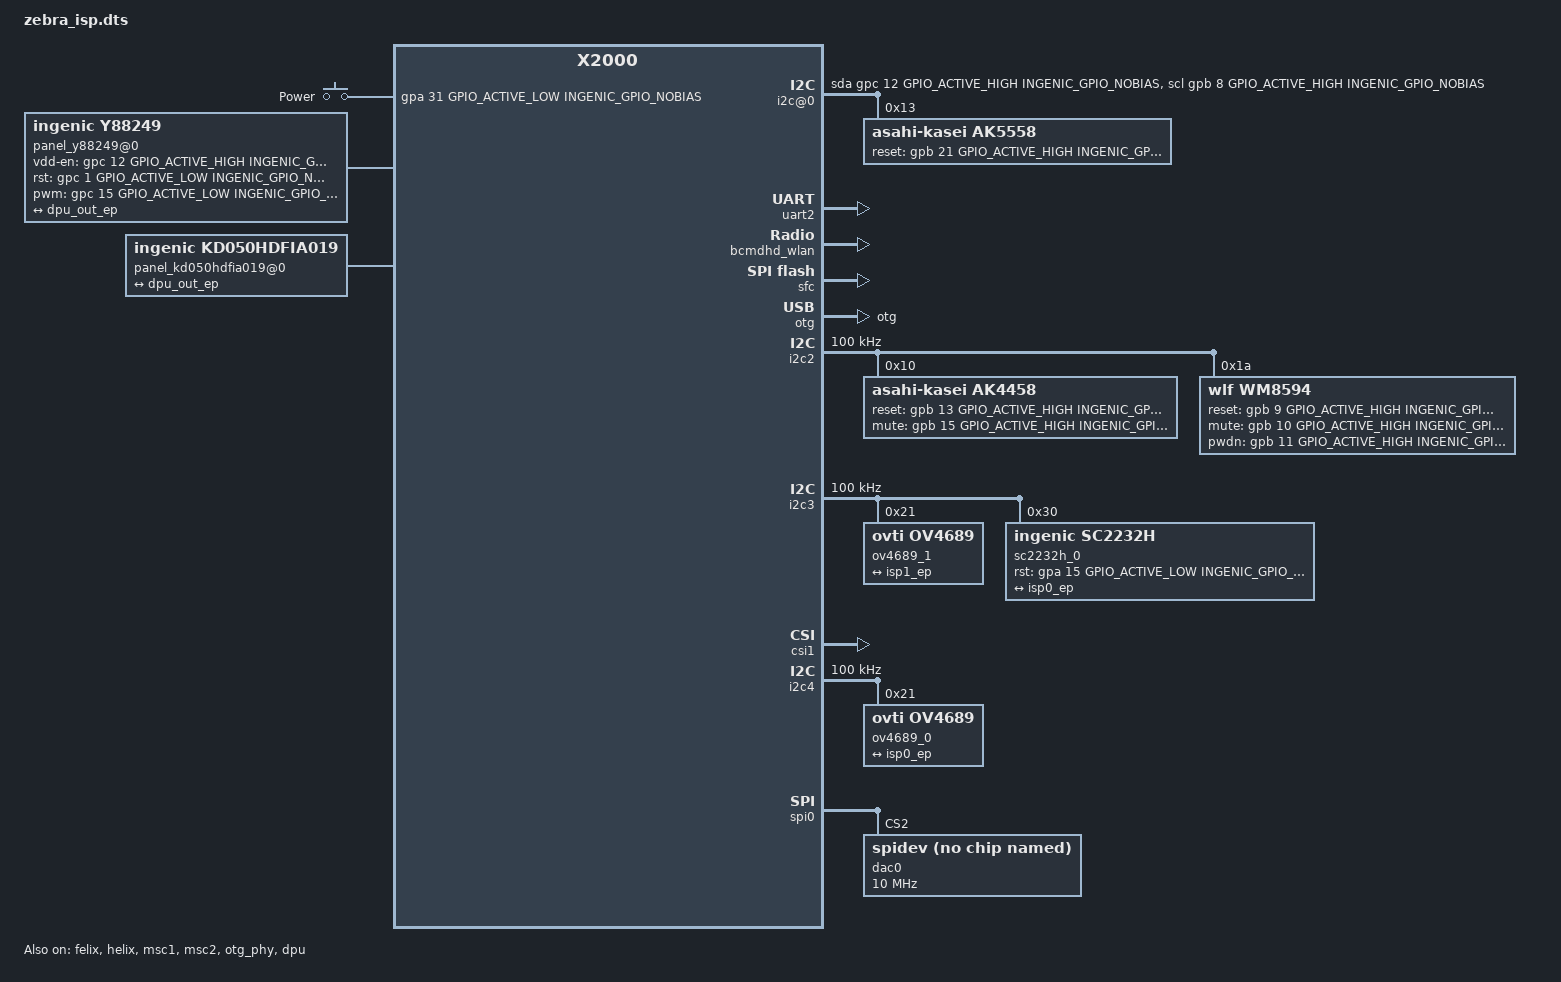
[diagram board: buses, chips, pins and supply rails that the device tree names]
/dts-v1/;

#include <dt-bindings/input/input.h>
#include "x2000-v12.dtsi"
#include <dt-bindings/interrupt-controller/irq.h>

/ {
	compatible = "img,zebra", "ingenic,x2000";
};

&uart0 {
	status = "disable";
};

&uart2 {
	status = "okay";
};

&pinctrl {
	ingenic,gpa_voltage = <GPIO_VOLTAGE_1V8>;
};

&felix {
	status = "okay";
};

&helix {
	status = "okay";
};

&msc0 {
	status = "disable";
	/*mmc-hs200-1_8v;*/
	cap-mmc-highspeed;
	non-removable;
	max-frequency = <50000000>;
	bus-width = <4>;
	non-removable;
	voltage-ranges = <1800 3300>;

	/* special property */
	ingenic,wp-gpios = <0>;
	ingneic,cd-gpios = <0>;
	ingenic,rst-gpios = <0>;
};

&msc1 {
	status = "okay";
	pinctrl-names ="default","enable", "disable";
	pinctrl-0 = <&msc1_4bit>;
	pinctrl-1 = <&rtc32k_enable>;
	pinctrl-2 = <&rtc32k_disable>;

	max-frequency = <50000000>;
	bus-width = <4>;
	voltage-ranges = <1800 3300>;
	/*non-removable;*/

	ingenic,sdio_clk = <1>;
	keep-power-in-suspend;

	/* special property */
	ingenic,wp-gpios = <0>;
	ingneic,cd-gpios = <0>;
	ingenic,rst-gpios = <0>;
	ingenic,removal-manual; /*removal-dontcare, removal-nonremovable, removal-removable, removal-manual*/

	bcmdhd_wlan: bcmdhd_wlan {
		 compatible = "android,bcmdhd_wlan";
		 ingenic,sdio-irq = <&gpd 20 IRQ_TYPE_LEVEL_HIGH INGENIC_GPIO_NOBIAS>;
		 ingenic,sdio-reset = <&gpd 19 GPIO_ACTIVE_LOW INGENIC_GPIO_NOBIAS>;
	};
};

&msc2 {
	status = "okay";
	/*mmc-hs200-1_8v;*/
	cap-mmc-highspeed;
	non-removable;
	max-frequency = <50000000>;
	bus-width = <4>;
	non-removable;
	voltage-ranges = <1800 3300>;

	/* special property */
	ingenic,wp-gpios = <0>;
	ingneic,cd-gpios = <0>;
	ingenic,rst-gpios = <0>;
};


&mac0 {
	pinctrl-names = "default", "reset";
	pinctrl-0 = <&mac0_rmii_p0_normal>, <&mac0_rmii_p1_normal>;
	pinctrl-1 = <&mac0_rmii_p0_rst>, <&mac0_rmii_p1_normal>;
	status = "disabled";
	ingenic,rst-gpio = <&gpb 0 GPIO_ACTIVE_LOW INGENIC_GPIO_NOBIAS>;
	ingenic,rst-ms = <10>;
	ingenic,mac-mode = <RMII>;
	ingenic,mode-reg = <0xb00000e4>;
};

&mac1 {
	pinctrl-names = "default", "reset";
	pinctrl-0 = <&mac1_rmii_p0_normal>, <&mac1_rmii_p1_normal>;
	pinctrl-1 = <&mac1_rmii_p0_rst>, <&mac1_rmii_p1_normal>;
	status = "disabled";
	ingenic,rst-gpio = <&gpb 26 GPIO_ACTIVE_LOW INGENIC_GPIO_NOBIAS>;
	ingenic,rst-ms = <10>;
	ingenic,mac-mode = <RMII>;
	ingenic,mode-reg = <0xb00000e8>;
};


/*
&mac0 {
	pinctrl-names = "default", "reset";
	pinctrl-0 = <&mac0_rgmii_p0_normal>, <&mac0_rgmii_p1_normal>;
	pinctrl-1 = <&mac0_rgmii_p0_rst>, <&mac0_rgmii_p1_normal>;
	status = "okay";
	ingenic,rst-gpio = <&gpb 0 GPIO_ACTIVE_LOW INGENIC_GPIO_NOBIAS>;
	ingenic,rst-ms = <10>;
	ingenic,mac-mode = <RGMII>;
	ingenic,mode-reg = <0xb00000e4>;
};

&mac1 {
	pinctrl-names = "default", "reset";
	pinctrl-0 = <&mac1_rgmii_p0_normal>, <&mac1_rgmii_p1_normal>;
	pinctrl-1 = <&mac1_rgmii_p0_rst>, <&mac1_rgmii_p1_normal>;
	status = "okay";
	ingenic,rst-gpio = <&gpb 26 GPIO_ACTIVE_LOW INGENIC_GPIO_NOBIAS>;
	ingenic,rst-ms = <10>;
	ingenic,mac-mode = <RGMII>;
	ingenic,mode-reg = <0xb00000e8>;
};
*/
&sfc {
	status = "okay";
	ingenic,sfc-max-frequency = <320000000>;
	ingenic,use_board_info      = /bits/ 8 <0>;
	ingenic,spiflash_param_offset = <0>;


};

&otg {
	g-use-dma;
	dr_mode = "otg"; // host,peripheral,otg
	status = "okay";
};

&otg_phy {
	compatible = "ingenic,innophy", "syscon";
	ingenic,drvvbus-gpio = <&gpe 22 GPIO_ACTIVE_HIGH INGENIC_GPIO_NOBIAS>;
	status = "okay";
};


&as_be_baic {
	pinctrl-names = "default";
	pinctrl-0 = <&baic1_tmclk_pc>, <&baic1_rmclk_pc>, <&baic1_pc>, <&baic2_mclk_pa>, <&baic2_pa>,
		<&baic3_mclk_pa>, <&baic3_pa>, <&baic4_pd>;
};

&as_spdif {
	pinctrl-names = "default";
	pinctrl-0 = <&spdif_pc>;
};

&as_dmic {
	pinctrl-names = "default";
	pinctrl-0 = <&dmic_pc>;
};

&i2c2 {
	status = "okay";
	clock-frequency = <100000>;
	timeout = <1000>;
	pinctrl-names = "default";
	pinctrl-0 = <&i2c2_pb>;

	ak4458: dac@0x10 {
		compatible = "asahi-kasei,ak4458";
		status = "okay";
		reg = <0x10>;
		reset-gpios = <&gpb 13 GPIO_ACTIVE_HIGH INGENIC_GPIO_NOBIAS>;
		mute-gpios = <&gpb 15 GPIO_ACTIVE_HIGH INGENIC_GPIO_NOBIAS>;
	};
	wm8594: adc@0x1a {
		compatible = "wlf,wm8594";
		status = "okay";
		reg = <0x1a>;
		reset-gpios = <&gpb 9 GPIO_ACTIVE_HIGH INGENIC_GPIO_NOBIAS>;
		mute-gpios = <&gpb 10 GPIO_ACTIVE_HIGH INGENIC_GPIO_NOBIAS>;
		pwdn-gpios = <&gpb 11 GPIO_ACTIVE_HIGH INGENIC_GPIO_NOBIAS>;
	};
};

&i2c3 {
	status = "okay";
	clock-frequency = <100000>;
	timeout = <1000>;
	pinctrl-names = "default";
	pinctrl-0 = <&i2c3_pa>;

	ov4689_1:ov4689@0x21 {
		status = "ok";
		compatible = "ovti,ov4689";
		reg = <0x21>;
		pinctrl-names = "default";
		pinctrl-0 = <&cim_vic_mclk_pe_24M>;

		port {
			ov4689_ep1:endpoint {
				remote-endpoint = <&isp1_ep>;
			};
		};
	};

	sc2232h_0:sc2232h@0x30 {
		status = "ok";
		compatible = "ingenic,sc2232h";
		reg = <0x30>;
		pinctrl-names = "default", "default";
		pinctrl-0 = <&vic_pa_high_10bit>;
		pinctrl-1 = <&cim_vic_mclk_pe_24M>;

		ingenic,rst-gpio = <&gpa 15 GPIO_ACTIVE_LOW INGENIC_GPIO_NOBIAS>;

		port {
			sc2232h_ep0:endpoint {
				remote-endpoint = <&isp0_ep>;
				bus-width = <10>;	/* Used data lines */
				data-shift = <2>;	/* Lines 9:2 are used */

				/* If hsync-active/vsync-active are missing,
				   embedded BT.656 sync is used */
				hsync-active = <1>;	/* Active high */
				vsync-active = <1>;	/* Active high */
				data-active = <1>;	/* Active high */
				pclk-sample = <1>;	/* Rising */
			};
		};
	};
};

&csi0 {
	status = "disabled";
};
&isp0_ep {
/*
	//MIPI Sensor
	remote-endpoint = <&ov4689_ep0>;
	data-lanes = <2>;
	clk-lanes = <1>;
*/

	//DVP Sensor
	remote-endpoint = <&sc2232h_ep0>;
	bus-width = <10>;	/* Used data lines */
	data-shift = <2>;	/* Lines 12:2 are used */

	/* If hsync-active/vsync-active are missing,
	   embedded BT.656 sync is used */
	hsync-active = <1>;	/* Active high */
	vsync-active = <1>;	/* Active high */
	data-active = <1>;	/* Active high */
	pclk-sample = <1>;	/* Rising */
};

&isp1_ep {
	remote-endpoint = <&ov4689_ep1>;
	data-lanes = <2>;
	clk-lanes = <1>;
};
&csi1 {
	status = "ok";
};
&i2c4 {
	status = "okay";
	clock-frequency = <100000>;
	timeout = <1000>;
	pinctrl-names = "default";
	pinctrl-0 = <&i2c4_pd>;

	ov4689_0:ov4689@0x21 {
		status = "ok";
		compatible = "ovti,ov4689";
		reg = <0x21>;

		port {
			ov4689_ep0:endpoint {
				remote-endpoint = <&isp0_ep>;
			};
		};
	};

	/*
	jxf23_0:jxf23@0x44 {
		status = "ok";
		compatible = "ingenic,jxf23";
		reg = <0x44>;

		port {
			jxf23_ep0:endpoint {
				remote-endpoint = <&isp0_ep>;
			};
		};
	};
	jxf23_1:jxf23@0x40 {
		sttus = "ok";
		compatible = "ingenic,jxf23";
		reg = <0x40>;

		port {
			jxf23_ep1:endpoint {
				remote-endpoint = <&isp1_ep>;
			};
		};

	};
	*/
};

&dpu {
	status = "okay";
	port {
		dpu_out_ep: endpoint {
			remote-endpoint = <&panel_y88249_ep>;
			/*remote-endpoint = <&panel_kd050hdfia019_ep>;*/
		};
	};
};

&spi0 {
	/*status = "disabled";*/
	status = "okay";
	pinctrl-names = "default";
	pinctrl-0 = <&spi0_pb>;

	spi-max-frequency = <54000000>;
	num-cs = <2>;
	cs-gpios = <0>, <0>;
	/*cs-gpios = <&gpa 27 GPIO_ACTIVE_HIGH INGENIC_GPIO_NOBIAS>, <&gpa 27 GPIO_ACTIVE_HIGH INGENIC_GPIO_NOBIAS>;*/
	ingenic,chnl = <0>;
	ingenic,allow_cs_same = <1>;
	ingenic,bus_num = <0>;
	ingenic,has_dma_support = <0>;
	ingenic,spi-src-clk = <1>;/*0.ext; 1.ssi*/

	dac0: dac8881@0 {
		compatible = "spidev";
		reg = <2>;
		chip_select= <0>;
		spi-max-frequency = <10000000>;
	};
};

/ {

	extclk: extclk {
		clock-frequency = <24000000>;
	};

	gpio_keys: gpio_keys {
		   compatible = "gpio-keys";

		   power {
			   label = "Power";
			   linux,code = <KEY_POWER>;
			   gpios = <&gpa 31 GPIO_ACTIVE_LOW INGENIC_GPIO_NOBIAS>;
			   gpio-key,wakeup;
		   };
	   };
	sound {
		compatible = "ingenic,x2000-sound";
		ingenic,model = "zebra";
	};

	i2c@0 {
		compatible = "i2c-gpio";
		gpios = <&gpc 12 GPIO_ACTIVE_HIGH INGENIC_GPIO_NOBIAS /* sda */>,
			<&gpb 8 GPIO_ACTIVE_HIGH INGENIC_GPIO_NOBIAS /* scl */>;
		//i2c-gpio,sda-open-drain;
		//i2c-gpio,scl-open-drain;
		i2c-gpio,scl-output-only;
		i2c-gpio,delay-us = <2>; /* ~100 kHz */
		#address-cells = <1>;
		#size-cells = <0>;

		ak5558: adc@0x13 {
			compatible = "asahi-kasei,ak5558";
			status = "okay";
			reg = <0x13>;
			reset-gpios = <&gpb 21 GPIO_ACTIVE_HIGH INGENIC_GPIO_NOBIAS>;
		};
	};

	display-dbi {
		compatible = "simple-bus";
		#interrupt-cells = <1>;
		#address-cells = <1>;
		#size-cells = <1>;
		ranges = <>;
		panel_y88249@0 {
			compatible = "ingenic,y88249";
			status = "okay";
			pinctrl-names = "default";
			pinctrl-0 = <&tft_lcd_pb_rgb888>;
			ingenic,vdd-en-gpio = <&gpc 12 GPIO_ACTIVE_HIGH INGENIC_GPIO_NOBIAS>;
			ingenic,rst-gpio = <&gpc 1 GPIO_ACTIVE_LOW INGENIC_GPIO_NOBIAS>;
			ingenic,pwm-gpio = <&gpc 15 GPIO_ACTIVE_LOW INGENIC_GPIO_NOBIAS>;
			port {
				panel_y88249_ep: endpoint {
					remote-endpoint = <&dpu_out_ep>;
				};
			};
		};
		panel_kd050hdfia019@0 {
			compatible = "ingenic,kd050hdfia019";
			status = "okay";
			pinctrl-names = "default";
			port {
				panel_kd050hdfia019_ep: endpoint {
					remote-endpoint = <&dpu_out_ep>;
				};
			};
		};
	};
};
